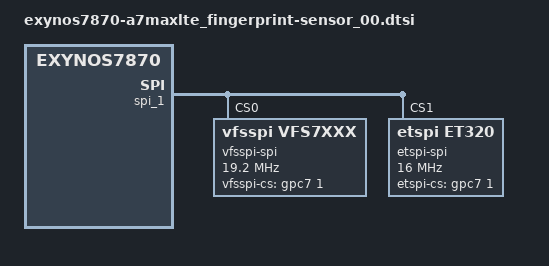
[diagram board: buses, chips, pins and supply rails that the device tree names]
/* * Copyright (c) 2012-2013, The Linux Foundation. All rights reserved. * * This program is free software; you can redistribute it and/or modify * it under the terms of the GNU General Public License version 2 and * only version 2 as published by the Free Software Foundation. * * This program is distributed in the hope that it will be useful, * but WITHOUT ANY WARRANTY; without even the implied warranty of * MERCHANTABILITY or FITNESS FOR A PARTICULAR PURPOSE.  See the * GNU General Public License for more details. *// {	pinctrl@139F0000 {		btp_irq: btp-irq {			samsung,pins = "gpa0-6";			samsung,pin-function = <0>;			samsung,pin-pud = <1>;			samsung,pin-drv = <3>;		};		btp_irqsleep: btp-irqsleep {			samsung,pins = "gpa0-6";			samsung,pin-function = <0>;			samsung,pin-pud = <1>;			samsung,pin-drv = <3>;		};		btp_irqidle: btp-irqidle {			samsung,pins = "gpa0-6";			samsung,pin-function = <0xf>;			samsung,pin-pud = <1>;			samsung,pin-drv = <3>;		};	};	pinctrl@139B0000 {		btp_ldo: btp-ldo {			samsung,pins = "gpd4-5";			samsung,pin-function = <1>;			samsung,pin-pud = <0>;			samsung,pin-drv = <0>;		};		btp_reset: btp-reset {			samsung,pins = "gpd4-3";			samsung,pin-function = <1>;			samsung,pin-pud = <0>;			samsung,pin-drv = <0>;		};	};	pinctrl@139E0000 {		btp_check: btp-check {			samsung,pins = "gpc7-4";			samsung,pin-function = <1>;			samsung,pin-pud = <0>;			samsung,pin-drv = <3>;		};	};	spi_1: spi@100C0000 {		status = "okay";		#secure-mode;		spiclk-pindev-name = "139E0000.pinctrl";		spiclk-pin-name = "gpc7-0";		spi-clkoff-time = <1000>;		#address-cells = <1>;		#size-cells = <0>;		pinctrl-names = "default";		pinctrl-0 = <&spi1_bus>;		num-cs = <2>;		dma-mode;		dmas = <&pdma0 19			&pdma0 18>;		dma-names = "tx", "rx";		vfsspi-spi@0 {			compatible = "vfsspi,vfs7xxx";			reg = <0>;			spi-max-frequency = <19200000>;			pinctrl-names = "default", "sleep", "idle";			pinctrl-0 = <&btp_irq &btp_reset &btp_ldo &btp_check>;			pinctrl-1 = <&btp_irqsleep>;			pinctrl-2 = <&btp_irqidle>;			gpio-controller;			#gpio-cells = <2>;			vfsspi-sleepPin = <&gpd4 3 0x00>;			vfsspi-drdyPin = <&gpa0 6 0x00>;			vfsspi-ldoPin = <&gpd4 5 0x00>;			vfsspi-orient = <0>;			vfsspi-vendorPin = <&gpc7 4 0x00>;			vfsspi-ldocontrol = <1>;			vfsspi-csgpio = <&gpc7 1 0>;			controller-data {				samsung,spi-feedback-delay = <0>;				samsung,spi-chip-select-mode = <1>;			};		};		etspi-spi@1 {			compatible = "etspi,et320";			reg = <1>;			spi-max-frequency = <16000000>;			pinctrl-names = "default";			pinctrl-0 = <&btp_irq &btp_reset &btp_ldo>;			pinctrl-1 = <&btp_irqsleep>;			pinctrl-2 = <&btp_irqidle>;			gpio-controller;			#gpio-cells = <2>;			etspi-sleepPin = <&gpd4 3 0x00>;			etspi-drdyPin = <&gpa0 6 0x00>;			etspi-ldoPin = <&gpd4 5 0x00>;			etspi-csgpio = <&gpc7 1 0>;			controller-data {				samsung,spi-feedback-delay = <0>;				samsung,spi-chip-select-mode = <1>;			};		};	};};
